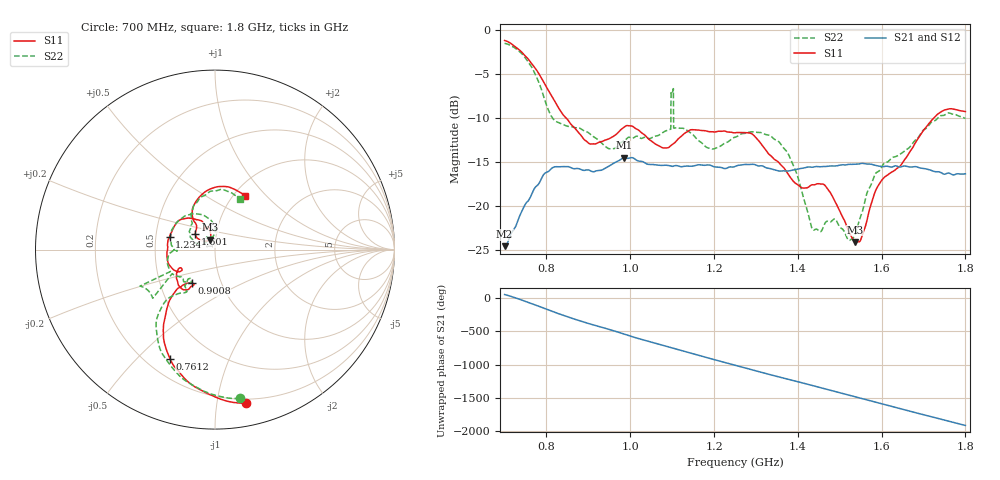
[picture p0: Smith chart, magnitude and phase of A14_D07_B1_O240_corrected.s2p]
! Created with skrf 1.9.0 (http://scikit-rf.org).
# Hz S RI R 50.0
!freq ReS11 ImS11 ReS21 ImS21 ReS12 ImS12 ReS22 ImS22
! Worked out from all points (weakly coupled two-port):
!   1601 points, 700 MHz to 1.8 GHz, reference 50 ohm
!   highest |S21| = -14.50 dB at 986 MHz (marker M1); lowest = -24.6 dB at 700 MHz (marker M2)
!   lowest |S11| = -24.1 dB at 1.537 GHz (marker M3), VSWR 1.13, Z = 47.1 + j5.3 ohm
!   |S11| at or under -10 dB: 846.8 MHz to 1.724 GHz (877.6 MHz wide, 68.3 % of centre)
!   |S22| runs from -23.9 to -1.5 dB; largest |S21 - S12| = 0.0036
!   S11 on the Smith chart (normalised r, x): 700 MHz: 0.17, -1.21; 761.2 MHz: 0.29, -0.63; 900.8 MHz: 0.72, -0.28; 1.234 GHz: 0.59, +0.09; 1.601 GHz: 0.79, +0.14; 1.8 GHz: 1.12, +0.77
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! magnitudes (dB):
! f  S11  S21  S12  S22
! 700 MHz  -1.2  -24.6  -24.4  -1.5
! 761.2 MHz  -3.6  -19.0  -18.9  -3.9
! 816.2 MHz  -7.8  -15.6  -15.7  -10.1
! 883.6 MHz  -12.0  -15.9  -15.8  -11.3
! 900.8 MHz  -12.9  -15.9  -15.9  -11.7
! 986 MHz  -11.0  -14.5  -14.6  -12.6
! 1.067 GHz  -13.1  -15.4  -15.3  -12.0
! 1.091 GHz  -13.4  -15.4  -15.4  -11.4
! 1.103 GHz  -12.9  -15.5  -15.4  -6.7
! 1.109 GHz  -12.7  -15.4  -15.5  -11.1
! 1.183 GHz  -11.5  -15.3  -15.4  -13.3
! 1.234 GHz  -11.6  -15.6  -15.7  -12.7
! 1.25 GHz  -11.7  -15.5  -15.4  -12.2
! 1.357 GHz  -15.2  -16.0  -16.0  -12.8
! 1.395 GHz  -17.4  -15.9  -15.8  -16.0
! 1.434 GHz  -17.6  -15.6  -15.6  -22.5
! 1.47 GHz  -18.0  -15.5  -15.5  -21.7
! 1.537 GHz  -24.1  -15.3  -15.3  -23.3
! 1.601 GHz  -17.1  -15.5  -15.5  -15.5
! 1.617 GHz  -16.4  -15.5  -15.5  -14.9
! 1.734 GHz  -9.6  -16.1  -16.2  -10.0
! 1.8 GHz  -9.3  -16.3  -16.3  -10.1
